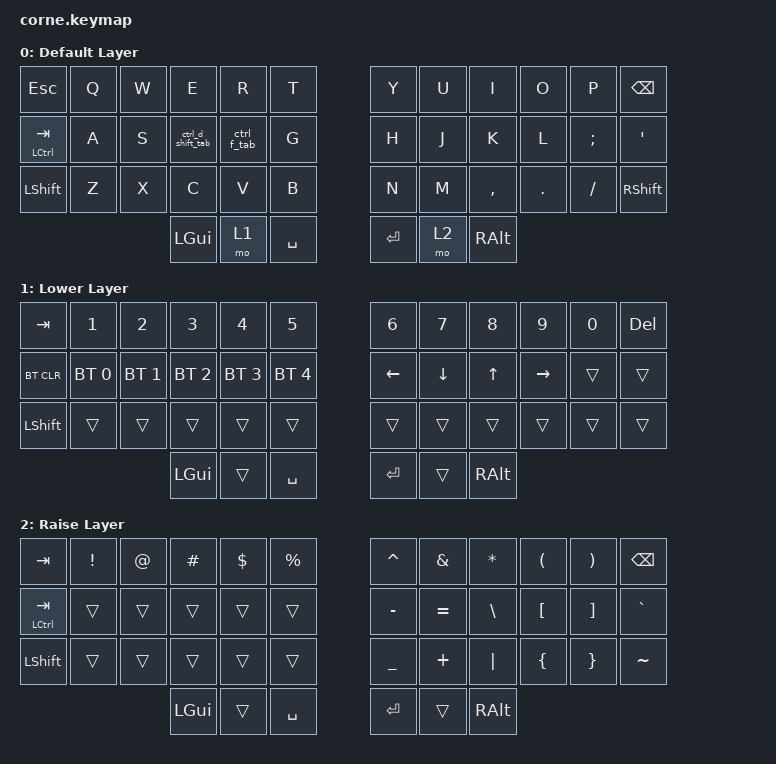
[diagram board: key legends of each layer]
/*
 * Copyright (c) 2020 The ZMK Contributors
 *
 * SPDX-License-Identifier: MIT
 */

#include <behaviors.dtsi>
#include <dt-bindings/zmk/keys.h>
#include <dt-bindings/zmk/bt.h>

/ {
        behaviors {
                ctrl_d_shift_tab: ctrl_d_shift_tab {
                        compatible = "zmk,behavior-mod-morph";
                        #binding-cells = <0>;
                        bindings = <&kp D>, <&kp LS(TAB)>;
                        mods = <(MOD_LCTL)>;
                        keep-mods = <(MOD_LCTL)>;
                };
                ctrl_f_tab: ctrl_f_tab {
                        compatible = "zmk,behavior-mod-morph";
                        #binding-cells = <0>;
                        bindings = <&kp F>, <&kp TAB>;
                        mods = <(MOD_LCTL)>;
                        keep-mods = <(MOD_LCTL)>;
                };
        };

        keymap {
                compatible = "zmk,keymap";

                default_layer {
                        display-name = "Default Layer";
// -----------------------------------------------------------------------------------------
// |  ESC |  Q  |  W  |  E  |  R  |  T  |   |  Y  |  U   |  I  |  O  |  P  | BSPC |
// | CTRL |  A  |  S  |  D  |  F  |  G  |   |  H  |  J   |  K  |  L  |  ;  |  '   |
// | SHFT |  Z  |  X  |  C  |  V  |  B  |   |  N  |  M   |  ,  |  .  |  /  | SHFT |
//                    | GUI | LWR | SPC |   | ENT | RSE  | ALT |
                        bindings = <
   &kp ESC &kp Q &kp W &kp E &kp R &kp T   &kp Y &kp U  &kp I     &kp O   &kp P    &kp BSPC
   &mt LCTL TAB &kp A &kp S &ctrl_d_shift_tab &ctrl_f_tab &kp G   &kp H &kp J  &kp K     &kp L   &kp SEMI &kp SQT
   &kp LSHFT &kp Z &kp X &kp C &kp V &kp B   &kp N &kp M  &kp COMMA &kp DOT &kp FSLH &kp RSHFT
                  &kp LGUI &mo 1 &kp SPACE   &kp RET &mo 2 &kp RALT
                        >;
                };
                lower_layer {
                        display-name = "Lower Layer";
// -----------------------------------------------------------------------------------------
// |  TAB |  1  |  2  |  3  |  4  |  5  |   |  6  |  7  |  8  |  9  |  0  | DEL |
// | BTCLR| BT1 | BT2 | BT3 | BT4 | BT5 |   | LFT | DWN |  UP | RGT |     |      |
// | SHFT |     |     |     |     |     |   |     |     |     |     |     |      |
//                    | GUI |     | SPC |   | ENT |     | ALT |
                        bindings = <
   &kp TAB    &kp N1       &kp N2       &kp N3       &kp N4       &kp N5         &kp N6   &kp N7   &kp N8 &kp N9    &kp N0 &kp DEL
   &bt BT_CLR &bt BT_SEL 0 &bt BT_SEL 1 &bt BT_SEL 2 &bt BT_SEL 3 &bt BT_SEL 4   &kp LEFT &kp DOWN &kp UP &kp RIGHT &trans &trans
   &kp LSHFT  &trans       &trans       &trans       &trans       &trans         &trans   &trans   &trans &trans    &trans &trans
                                    &kp LGUI     &trans       &kp SPACE      &kp RET  &trans   &kp RALT
                        >;
                };

                raise_layer {
                        display-name = "Raise Layer";
// -----------------------------------------------------------------------------------------
// |  TAB |  !  |  @  |  #  |  $  |  %  |   |  ^  |  &  |  *  |  (  |  )  | BSPC |
// | CTRL |     |     |     |     |     |   |  -  |  =  |  \  |  [  |  ]  |  `   |
// | SHFT |     |     |     |     |     |   |  _  |  +  | "|" |  {  |  }  |  ~   |
//                    | GUI |     | SPC |   | ENT |     | ALT |
                        bindings = <
   &kp  TAB  &kp EXCL &kp AT &kp HASH &kp DLLR &kp PRCNT   &kp CARET &kp AMPS  &kp ASTRK &kp LPAR &kp RPAR &kp BSPC
   &mt LCTL TAB &trans   &trans &trans   &trans   &trans      &kp MINUS &kp EQUAL &kp BSLH  &kp LBKT  &kp RBKT &kp GRAVE
   &kp LSHFT &trans   &trans &trans   &trans   &trans      &kp UNDER &kp PLUS  &kp PIPE  &kp LBRC  &kp RBRC &kp TILDE
                             &kp LGUI &trans   &kp SPACE   &kp RET   &trans    &kp RALT
                        >;
                };
        };
};
